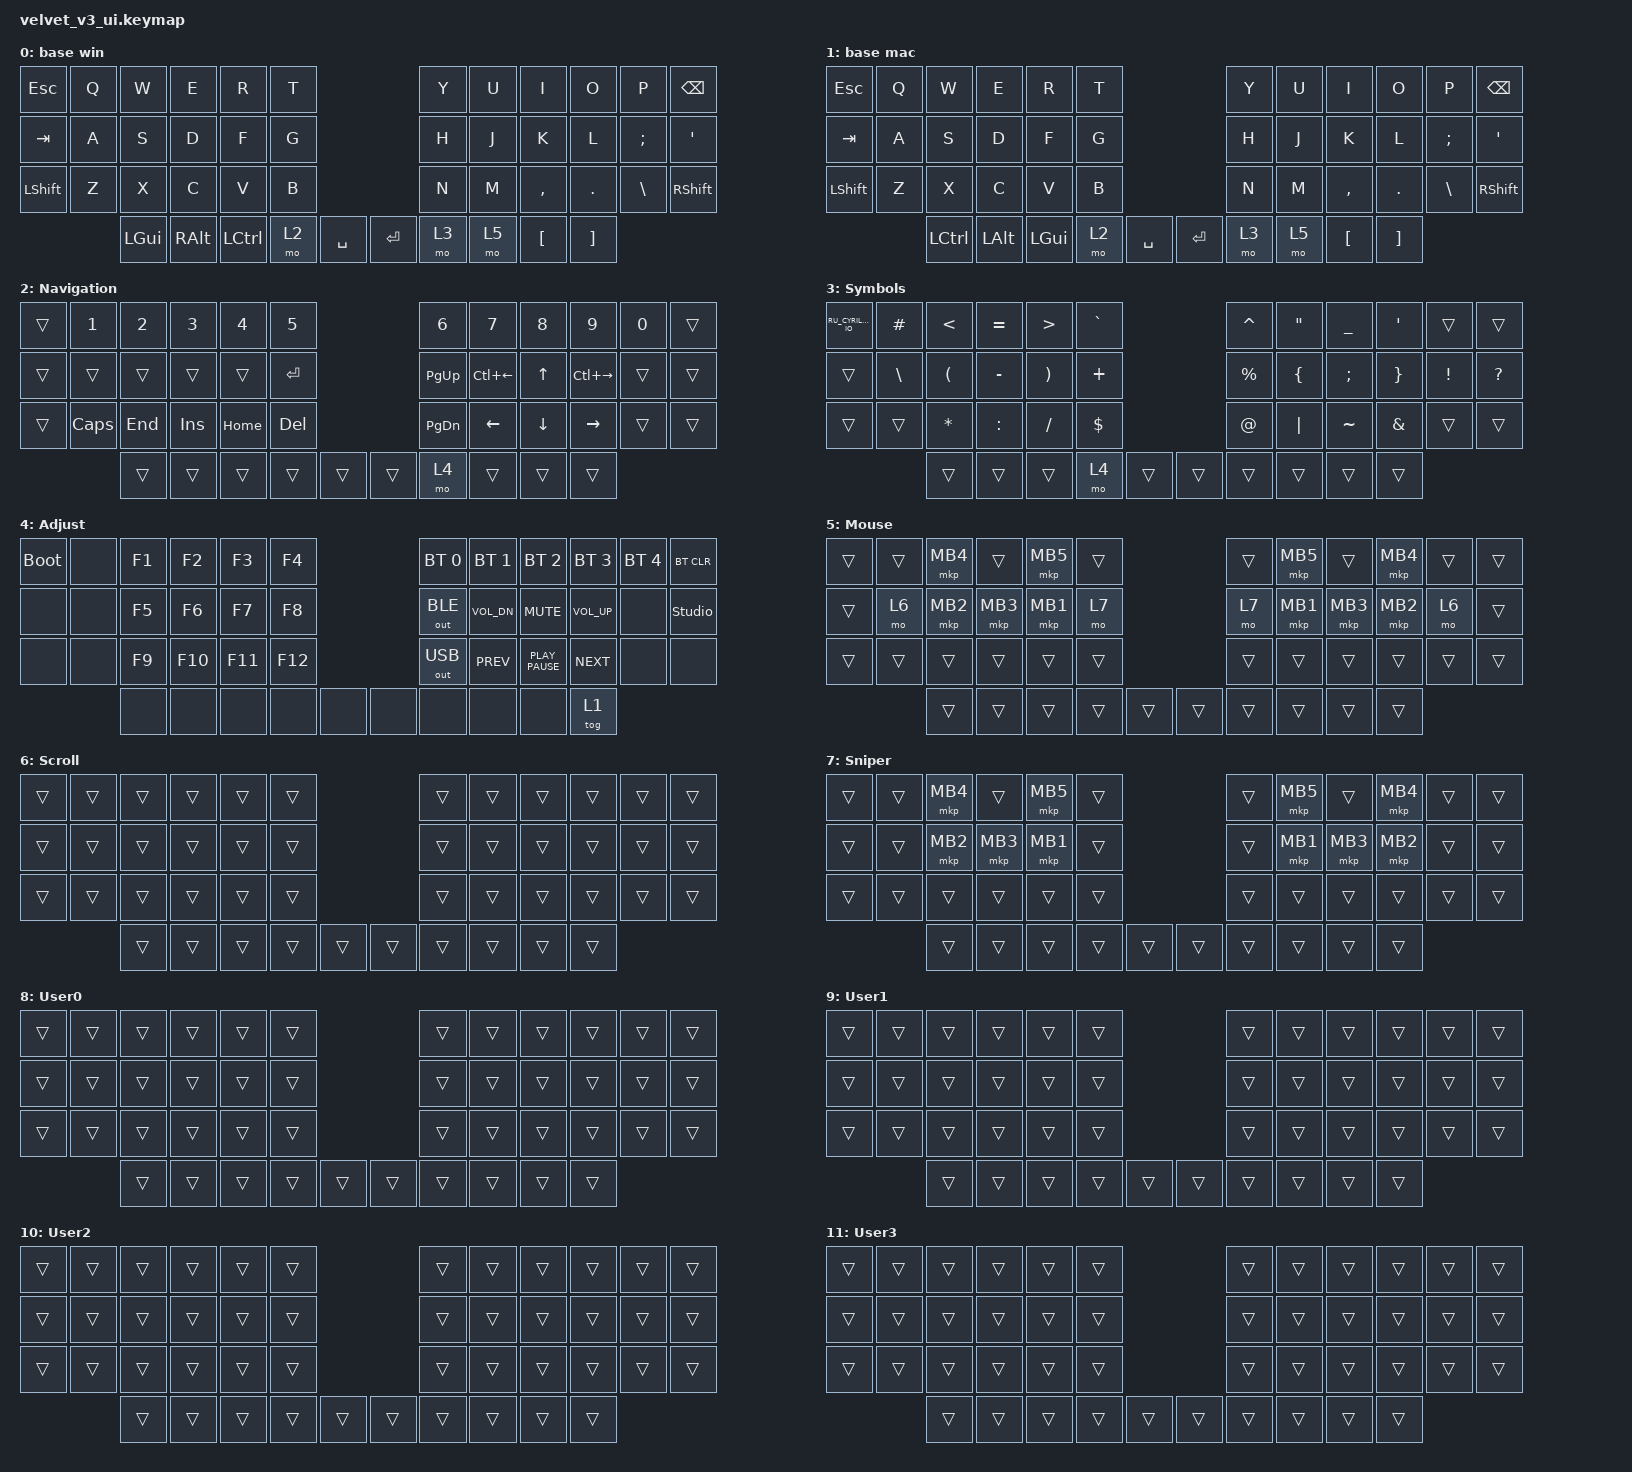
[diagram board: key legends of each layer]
#include "keys_ru.h"
#include <dt-bindings/zmk/input_transform.h>
#include <input/processors.dtsi>
#include <zephyr/dt-bindings/input/input-event-codes.h>
#include <behaviors.dtsi>
#include <dt-bindings/zmk/bt.h>
#include <dt-bindings/zmk/keys.h>
#include <dt-bindings/zmk/outputs.h>
#include <dt-bindings/zmk/pointing.h>

/ {
    behaviors {
        cap_sen: cap_sen {
            compatible = "zmk,behavior-hold-tap";
            label = "CAP_SEN";
            bindings = <&mo>, <&mkp>;

            #binding-cells = <2>;
            tapping-term-ms = <150>;
            hold-while-undecided;
        };
    };

    keymap {
        compatible = "zmk,keymap";

        Base_win {
            bindings = <
&kp ESC    &kp Q  &kp W     &kp E     &kp R      &kp T                        &kp Y  &kp U  &kp I      &kp O     &kp P     &kp BSPC
&kp TAB    &kp A  &kp S     &kp D     &kp F      &kp G                        &kp H  &kp J  &kp K      &kp L     &kp SEMI  &kp SQT
&kp LSHFT  &kp Z  &kp X     &kp C     &kp V      &kp B                        &kp N  &kp M  &kp COMMA  &kp DOT   &kp BSLH  &kp RSHFT
                  &kp LGUI  &kp RALT  &kp LCTRL  &mo 2  &kp SPACE    &kp RET  &mo 3  &mo 5  &kp LBKT   &kp RBKT
            >;

            display-name = " base win";
        };

        Base_mac {
            display-name = " base mac";
            bindings = <
&kp ESC    &kp Q  &kp W      &kp E     &kp R     &kp T                        &kp Y  &kp U  &kp I      &kp O     &kp P     &kp BSPC
&kp TAB    &kp A  &kp S      &kp D     &kp F     &kp G                        &kp H  &kp J  &kp K      &kp L     &kp SEMI  &kp SQT
&kp LSHFT  &kp Z  &kp X      &kp C     &kp V     &kp B                        &kp N  &kp M  &kp COMMA  &kp DOT   &kp BSLH  &kp RSHFT
                  &kp LCTRL  &kp LALT  &kp LGUI  &mo 2  &kp SPACE    &kp RET  &mo 3  &mo 5  &kp LBKT   &kp RBKT
            >;
        };

        Navigation {
            display-name = "Navigation";
            bindings = <
&trans  &kp N1        &kp N2   &kp N3   &kp N4    &kp N5                     &kp N6         &kp N7        &kp N8    &kp N9         &kp N0  &trans
&trans  &trans        &trans   &trans   &trans    &kp RET                    &kp PAGE_UP    &kp LC(LEFT)  &kp UP    &kp LC(RIGHT)  &trans  &trans
&trans  &kp CAPSLOCK  &kp END  &kp INS  &kp HOME  &kp DEL                    &kp PAGE_DOWN  &kp LEFT      &kp DOWN  &kp RIGHT      &trans  &trans
                      &trans   &trans   &trans    &trans   &trans    &trans  &mo 4          &trans        &trans    &trans
            >;
        };

        Symbols {
            bindings = <
&kp RU_CYRILLIC_IO  &kp HASH  &kp LT    &kp EQUAL  &kp GT    &kp GRAVE                    &kp CARET  &kp DQT   &kp UNDER  &kp SQT   &trans    &trans
&trans              &kp BSLH  &kp LPAR  &kp MINUS  &kp RPAR  &kp PLUS                     &kp PRCNT  &kp LBRC  &kp SEMI   &kp RBRC  &kp EXCL  &kp QUESTION
&trans              &trans    &kp STAR  &kp COLON  &kp FSLH  &kp DLLR                     &kp AT     &kp PIPE  &kp TILDE  &kp AMPS  &trans    &trans
                              &trans    &trans     &trans    &mo 4      &trans    &trans  &trans     &trans    &trans     &trans
            >;

            display-name = "Symbols";
        };

        Adjust {
            bindings = <
&bootloader  &none  &kp F1  &kp F2   &kp F3   &kp F4                   &bt BT_SEL 0  &bt BT_SEL 1  &bt BT_SEL 2      &bt BT_SEL 3  &bt BT_SEL 4  &bt BT_CLR
&none        &none  &kp F5  &kp F6   &kp F7   &kp F8                   &out OUT_BLE  &kp C_VOL_DN  &kp K_MUTE        &kp C_VOL_UP  &none         &studio_unlock
&none        &none  &kp F9  &kp F10  &kp F11  &kp F12                  &out OUT_USB  &kp K_PREV    &kp K_PLAY_PAUSE  &kp K_NEXT    &none         &none
                    &none   &none    &none    &none    &none    &none  &none         &none         &none             &tog 1
            >;

            display-name = "Adjust";
        };

        Mouse {
            bindings = <
&trans  &trans  &mkp MB4  &trans    &mkp MB5  &trans                    &trans  &mkp MB5  &trans    &mkp MB4  &trans  &trans
&trans  &mo 6   &mkp MB2  &mkp MB3  &mkp MB1  &mo 7                     &mo 7   &mkp MB1  &mkp MB3  &mkp MB2  &mo 6   &trans
&trans  &trans  &trans    &trans    &trans    &trans                    &trans  &trans    &trans    &trans    &trans  &trans
                &trans    &trans    &trans    &trans  &trans    &trans  &trans  &trans    &trans    &trans
            >;
        };

        Scroll {
            bindings = <
&trans  &trans  &trans  &trans  &trans  &trans                    &trans  &trans  &trans  &trans  &trans  &trans
&trans  &trans  &trans  &trans  &trans  &trans                    &trans  &trans  &trans  &trans  &trans  &trans
&trans  &trans  &trans  &trans  &trans  &trans                    &trans  &trans  &trans  &trans  &trans  &trans
                &trans  &trans  &trans  &trans  &trans    &trans  &trans  &trans  &trans  &trans
            >;
        };

        Sniper {
            bindings = <
&trans  &trans  &mkp MB4  &trans    &mkp MB5  &trans                    &trans  &mkp MB5  &trans    &mkp MB4  &trans  &trans
&trans  &trans  &mkp MB2  &mkp MB3  &mkp MB1  &trans                    &trans  &mkp MB1  &mkp MB3  &mkp MB2  &trans  &trans
&trans  &trans  &trans    &trans    &trans    &trans                    &trans  &trans    &trans    &trans    &trans  &trans
                &trans    &trans    &trans    &trans  &trans    &trans  &trans  &trans    &trans    &trans
            >;
        };

        User0 {
            bindings = <
&trans  &trans  &trans  &trans  &trans  &trans                    &trans  &trans  &trans  &trans  &trans  &trans
&trans  &trans  &trans  &trans  &trans  &trans                    &trans  &trans  &trans  &trans  &trans  &trans
&trans  &trans  &trans  &trans  &trans  &trans                    &trans  &trans  &trans  &trans  &trans  &trans
                &trans  &trans  &trans  &trans  &trans    &trans  &trans  &trans  &trans  &trans
            >;

            display-name = "User0";
        };

        User1 {
            bindings = <
&trans  &trans  &trans  &trans  &trans  &trans                    &trans  &trans  &trans  &trans  &trans  &trans
&trans  &trans  &trans  &trans  &trans  &trans                    &trans  &trans  &trans  &trans  &trans  &trans
&trans  &trans  &trans  &trans  &trans  &trans                    &trans  &trans  &trans  &trans  &trans  &trans
                &trans  &trans  &trans  &trans  &trans    &trans  &trans  &trans  &trans  &trans
            >;

            display-name = "User1";
        };

        User2 {
            bindings = <
&trans  &trans  &trans  &trans  &trans  &trans                    &trans  &trans  &trans  &trans  &trans  &trans
&trans  &trans  &trans  &trans  &trans  &trans                    &trans  &trans  &trans  &trans  &trans  &trans
&trans  &trans  &trans  &trans  &trans  &trans                    &trans  &trans  &trans  &trans  &trans  &trans
                &trans  &trans  &trans  &trans  &trans    &trans  &trans  &trans  &trans  &trans
            >;

            display-name = "User2";
        };

        User3 {
            bindings = <
&trans  &trans  &trans  &trans  &trans  &trans                    &trans  &trans  &trans  &trans  &trans  &trans
&trans  &trans  &trans  &trans  &trans  &trans                    &trans  &trans  &trans  &trans  &trans  &trans
&trans  &trans  &trans  &trans  &trans  &trans                    &trans  &trans  &trans  &trans  &trans  &trans
                &trans  &trans  &trans  &trans  &trans    &trans  &trans  &trans  &trans  &trans
            >;

            display-name = "User3";
        };
    };
};

&trackball { cpi = <800>; };

&trackball_listener {
    input-processors = <&zip_xy_scaler 9 20>;

    scroller {
        layers = <6>;
        input-processors = <&zip_xy_transform INPUT_TRANSFORM_Y_INVERT>, <&zip_xy_scaler 1 32>, <&zip_xy_to_scroll_mapper>;
    };

    sniper {
        layers = <7>;
        input-processors = <&zip_xy_scaler 1 4>;
    };
};
